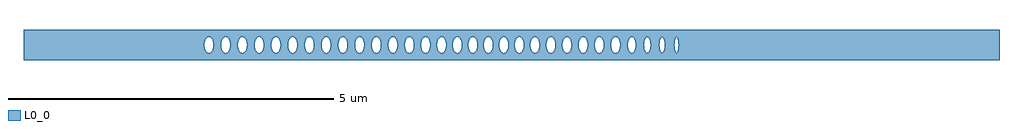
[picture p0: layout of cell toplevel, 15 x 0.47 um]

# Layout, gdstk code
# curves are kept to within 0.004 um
import gdstk
lib = gdstk.Library(unit=1e-6, precision=1e-09)
def P(c, l, *ps):  # polygons
    for p in ps: c.add(gdstk.Polygon(p, *l))
L0_0 = (0, 0)

toplevel = lib.new_cell('toplevel')
P(toplevel, L0_0, [(-4.205,0.016),(-4.187,0.085),(-4.187,0.235),(-7.5,0.235),(-7.5,-0.016),(-4.72,-0.016),(-4.717,0.038),(-4.707,0.073),(-4.684,0.109),(-4.654,0.124),(-4.628,0.118),(-4.599,0.085),(-4.584,0.046),(-4.58,-0.016),(-4.463,-0.016),(-4.46,0.038),(-4.45,0.073),(-4.427,0.109),(-4.397,0.124),(-4.371,0.118),(-4.344,0.09),(-4.327,0.046),(-4.322,0.008),(-4.324,-0.031),(-4.338,-0.079),(-4.359,-0.109),(-4.388,-0.124),(-4.414,-0.118),(-4.438,-0.096),(-4.45,-0.073),(-4.463,-0.016),(-4.58,-0.016),(-4.588,-0.06),(-4.605,-0.096),(-4.628,-0.118),(-4.645,-0.124),(-4.672,-0.118),(-4.695,-0.096),(-4.712,-0.06),(-4.72,-0.016),(-7.5,-0.016),(-7.5,-0.235),(-4.187,-0.235),(-4.187,-0.085),(-4.204,-0.031)],
  [(-3.69,0.023),(-3.678,0.073),(-3.666,0.096),(-3.634,0.122),(-3.607,0.122),(-3.607,0.235),(-4.187,0.235),(-4.187,0.085),(-4.169,0.109),(-4.148,0.122),(-4.122,0.122),(-4.101,0.109),(-4.074,0.06),(-4.065,-0.016),(-3.948,-0.016),(-3.945,0.038),(-3.935,0.073),(-3.912,0.109),(-3.882,0.124),(-3.856,0.118),(-3.833,0.096),(-3.812,0.046),(-3.807,0),(-3.812,-0.046),(-3.827,-0.085),(-3.844,-0.109),(-3.869,-0.123),(-3.9,-0.118),(-3.923,-0.096),(-3.94,-0.06),(-3.948,-0.016),(-4.065,-0.016),(-4.084,-0.085),(-4.101,-0.109),(-4.122,-0.122),(-4.14,-0.124),(-4.157,-0.118),(-4.187,-0.085),(-4.187,-0.235),(-3.607,-0.235),(-3.607,-0.122),(-3.634,-0.122),(-3.666,-0.096),(-3.688,-0.038)],
  [(-3.607,0.235),(-3.607,0.122),(-3.583,0.105),(-3.566,0.079),(-3.552,0.031),(-3.55,-0.008),(-3.434,-0.008),(-3.432,0.031),(-3.418,0.079),(-3.397,0.109),(-3.368,0.124),(-3.342,0.118),(-3.318,0.096),(-3.306,0.073),(-3.293,0.016),(-3.296,-0.038),(-3.306,-0.073),(-3.329,-0.109),(-3.359,-0.124),(-3.385,-0.118),(-3.412,-0.09),(-3.429,-0.046),(-3.434,-0.008),(-3.55,-0.008),(-3.566,-0.079),(-3.583,-0.105),(-3.607,-0.122),(-3.607,-0.235),(-3.04,-0.235),(-3.04,-0.046),(-3.068,-0.105),(-3.093,-0.122),(-3.115,-0.123),(-3.151,-0.096),(-3.168,-0.06),(-3.176,-0.016),(-3.168,0.06),(-3.151,0.096),(-3.124,0.12),(-3.097,0.123),(-3.072,0.109),(-3.055,0.085),(-3.04,0.046),(-3.04,0.235)],
  [(-2.403,0.023),(-2.391,0.072),(-2.391,0.235),(-3.04,0.235),(-3.036,-0.016),(-2.919,-0.016),(-2.916,0.038),(-2.906,0.073),(-2.883,0.109),(-2.853,0.124),(-2.827,0.118),(-2.797,0.085),(-2.783,0.046),(-2.778,-0.008),(-2.662,-0.008),(-2.66,0.031),(-2.646,0.079),(-2.625,0.109),(-2.596,0.124),(-2.57,0.118),(-2.546,0.096),(-2.534,0.073),(-2.521,0.016),(-2.524,-0.038),(-2.534,-0.073),(-2.557,-0.109),(-2.587,-0.124),(-2.613,-0.118),(-2.64,-0.09),(-2.657,-0.046),(-2.662,-0.008),(-2.778,-0.008),(-2.783,-0.046),(-2.797,-0.085),(-2.815,-0.109),(-2.844,-0.124),(-2.87,-0.118),(-2.894,-0.096),(-2.906,-0.073),(-2.919,-0.016),(-3.036,-0.016),(-3.04,-0.235),(-2.391,-0.235),(-2.391,-0.073),(-2.404,-0.016)],
  [(-2.385,0.085),(-2.356,0.118),(-2.321,0.122),(-2.296,0.105),(-2.277,0.073),(-2.268,0.046),(-2.264,0),(-2.148,0),(-2.143,0.046),(-2.122,0.096),(-2.095,0.12),(-2.064,0.122),(-2.039,0.105),(-2.02,0.073),(-2.01,0.038),(-2.007,-0.016),(-2.015,-0.06),(-2.032,-0.096),(-2.055,-0.118),(-2.082,-0.124),(-2.111,-0.109),(-2.128,-0.085),(-2.143,-0.046),(-2.148,0),(-2.264,0),(-2.268,-0.046),(-2.277,-0.073),(-2.289,-0.096),(-2.312,-0.118),(-2.33,-0.124),(-2.356,-0.118),(-2.372,-0.105),(-2.391,-0.073),(-2.391,-0.235),(-1.817,-0.235),(-1.817,-0.124),(-1.844,-0.118),(-1.867,-0.096),(-1.884,-0.06),(-1.892,-0.016),(-1.889,0.038),(-1.873,0.085),(-1.844,0.118),(-1.817,0.124),(-1.817,0.235),(-2.391,0.235),(-2.391,0.073)],
  [(-1.39,0.016),(-1.377,0.073),(-1.358,0.105),(-1.338,0.12),(-1.316,0.124),(-1.298,0.118),(-1.282,0.105),(-1.263,0.073),(-1.263,0.235),(-1.817,0.235),(-1.817,0.124),(-1.788,0.109),(-1.77,0.085),(-1.756,0.046),(-1.751,-0.008),(-1.64,-0.008),(-1.635,0.046),(-1.624,0.079),(-1.603,0.109),(-1.574,0.124),(-1.547,0.118),(-1.524,0.096),(-1.507,0.06),(-1.499,0.016),(-1.502,-0.038),(-1.512,-0.073),(-1.535,-0.109),(-1.565,-0.124),(-1.591,-0.118),(-1.614,-0.096),(-1.631,-0.06),(-1.64,-0.008),(-1.751,-0.008),(-1.756,-0.046),(-1.77,-0.085),(-1.788,-0.109),(-1.817,-0.124),(-1.817,-0.235),(-1.263,-0.235),(-1.263,-0.073),(-1.275,-0.096),(-1.298,-0.118),(-1.316,-0.124),(-1.342,-0.118),(-1.365,-0.096),(-1.38,-0.066)],
  [(-0.663,0.016),(-0.66,0.235),(-1.263,0.235),(-1.263,0.072),(-1.253,0.038),(-1.25,-0.016),(-1.145,-0.016),(-1.142,0.038),(-1.132,0.073),(-1.109,0.109),(-1.079,0.124),(-1.053,0.118),(-1.023,0.085),(-1.006,0.031),(-1.005,-0.016),(-0.903,-0.016),(-0.9,0.038),(-0.89,0.073),(-0.867,0.109),(-0.837,0.124),(-0.811,0.118),(-0.784,0.09),(-0.767,0.046),(-0.762,0.008),(-0.764,-0.031),(-0.778,-0.079),(-0.799,-0.109),(-0.828,-0.124),(-0.854,-0.118),(-0.878,-0.096),(-0.89,-0.073),(-0.903,-0.016),(-1.005,-0.016),(-1.009,-0.046),(-1.026,-0.09),(-1.041,-0.109),(-1.07,-0.124),(-1.096,-0.118),(-1.12,-0.096),(-1.132,-0.073),(-1.145,-0.016),(-1.25,-0.016),(-1.263,-0.073),(-1.263,-0.235),(-0.66,-0.235)],
  [(-0.659,0.046),(-0.645,0.085),(-0.627,0.109),(-0.607,0.122),(-0.58,0.122),(-0.556,0.105),(-0.536,0.073),(-0.525,0.031),(-0.524,-0.016),(-0.426,-0.016),(-0.423,0.038),(-0.407,0.085),(-0.378,0.118),(-0.351,0.124),(-0.322,0.109),(-0.304,0.085),(-0.29,0.046),(-0.285,0),(-0.29,-0.046),(-0.304,-0.085),(-0.322,-0.109),(-0.351,-0.124),(-0.378,-0.118),(-0.401,-0.096),(-0.418,-0.06),(-0.426,-0.016),(-0.524,-0.016),(-0.528,-0.046),(-0.545,-0.09),(-0.563,-0.112),(-0.589,-0.124),(-0.607,-0.122),(-0.631,-0.105),(-0.648,-0.079),(-0.66,-0.038),(-0.66,-0.235),(-0.145,-0.235),(-0.145,-0.115),(-0.164,-0.096),(-0.176,-0.073),(-0.189,-0.016),(-0.186,0.038),(-0.176,0.073),(-0.164,0.096),(-0.145,0.115),(-0.145,0.235),(-0.66,0.235)],
  [(-0.132,0.122),(-0.114,0.124),(-0.097,0.118),(-0.07,0.09),(-0.053,0.046),(-0.048,-0.008),(0.049,-0.008),(0.052,0.038),(0.071,0.09),(0.098,0.118),(0.115,0.124),(0.133,0.122),(0.157,0.105),(0.174,0.079),(0.188,0.031),(0.19,-0.008),(0.185,-0.046),(0.171,-0.085),(0.153,-0.109),(0.124,-0.124),(0.098,-0.118),(0.071,-0.09),(0.054,-0.046),(0.049,-0.008),(-0.048,-0.008),(-0.059,-0.066),(-0.081,-0.105),(-0.114,-0.124),(-0.145,-0.115),(-0.145,-0.235),(0.405,-0.235),(0.405,-0.096),(0.374,-0.122),(0.356,-0.124),(0.334,-0.115),(0.315,-0.096),(0.303,-0.073),(0.29,-0.016),(0.299,0.06),(0.326,0.109),(0.347,0.122),(0.365,0.124),(0.382,0.118),(0.405,0.096),(0.405,0.235),(-0.145,0.235),(-0.145,0.115)],
  [(0.783,0.016),(0.787,0.046),(0.804,0.09),(0.822,0.112),(0.848,0.124),(0.874,0.118),(0.897,0.096),(0.912,0.066),(0.922,0.023),(0.922,0.235),(0.405,0.235),(0.405,0.096),(0.426,0.046),(0.43,-0.016),(0.535,-0.016),(0.538,0.038),(0.548,0.073),(0.571,0.109),(0.601,0.124),(0.627,0.118),(0.65,0.096),(0.667,0.06),(0.675,0.016),(0.671,-0.046),(0.662,-0.073),(0.639,-0.109),(0.609,-0.124),(0.583,-0.118),(0.56,-0.096),(0.543,-0.06),(0.535,-0.016),(0.43,-0.016),(0.422,-0.06),(0.405,-0.096),(0.405,-0.235),(0.922,-0.235),(0.922,-0.023),(0.907,-0.079),(0.89,-0.105),(0.866,-0.122),(0.839,-0.122),(0.815,-0.105),(0.795,-0.073),(0.784,-0.031)],
  [(1.549,-0.235),(1.549,-0.085),(1.534,-0.046),(1.529,0),(1.534,0.046),(1.549,0.085),(1.549,0.235),(0.922,0.235),(0.923,-0.008),(1.03,-0.008),(1.035,0.046),(1.046,0.079),(1.067,0.109),(1.096,0.124),(1.123,0.118),(1.152,0.085),(1.168,0.038),(1.171,-0.016),(1.279,-0.016),(1.282,0.038),(1.292,0.073),(1.315,0.109),(1.345,0.124),(1.371,0.118),(1.394,0.096),(1.415,0.046),(1.42,0),(1.415,-0.046),(1.4,-0.085),(1.383,-0.109),(1.354,-0.124),(1.327,-0.118),(1.304,-0.096),(1.287,-0.06),(1.279,-0.016),(1.171,-0.016),(1.163,-0.06),(1.146,-0.096),(1.123,-0.118),(1.096,-0.124),(1.067,-0.109),(1.049,-0.085),(1.035,-0.046),(1.03,-0.008),(0.923,-0.008),(0.922,-0.235)],
  [(2.037,0.015),(2.044,0.065),(2.062,0.107),(2.084,0.122),(2.106,0.113),(2.106,0.235),(1.549,0.235),(1.549,0.085),(1.566,0.109),(1.587,0.122),(1.613,0.122),(1.634,0.109),(1.662,0.06),(1.67,-0.008),(1.788,-0.008),(1.792,0.045),(1.804,0.084),(1.819,0.108),(1.845,0.123),(1.867,0.117),(1.89,0.09),(1.902,0.059),(1.909,0.015),(1.898,-0.072),(1.878,-0.108),(1.86,-0.121),(1.837,-0.121),(1.813,-0.1),(1.797,-0.066),(1.788,-0.008),(1.67,-0.008),(1.657,-0.073),(1.638,-0.105),(1.613,-0.122),(1.578,-0.118),(1.549,-0.085),(1.549,-0.235),(2.106,-0.235),(2.106,-0.113),(2.084,-0.122),(2.057,-0.099),(2.041,-0.052)],
  [(2.136,-0.03),(2.124,-0.084),(2.106,-0.113),(2.106,-0.235),(7.5,-0.235),(7.5,0.235),(2.106,0.235),(2.106,0.113),(2.13,0.065),(2.137,-0.015),(2.274,-0.015),(2.283,0.077),(2.297,0.11),(2.312,0.121),(2.33,0.113),(2.343,0.088),(2.354,0.037),(2.355,-0.015),(2.505,-0.015),(2.512,0.076),(2.521,0.105),(2.534,0.12),(2.542,0.118),(2.553,0.101),(2.565,0.044),(2.567,-0.015),(2.561,-0.071),(2.553,-0.101),(2.538,-0.12),(2.526,-0.114),(2.516,-0.092),(2.505,-0.015),(2.355,-0.015),(2.343,-0.088),(2.33,-0.113),(2.317,-0.121),(2.302,-0.115),(2.291,-0.098),(2.28,-0.065),(2.274,-0.015),(2.137,-0.015)])

lib.write_gds('toplevel.gds')
